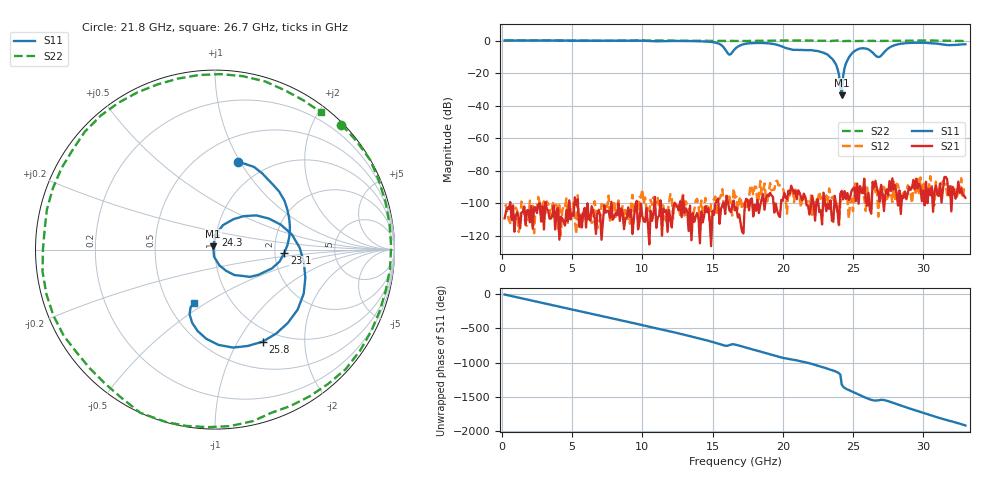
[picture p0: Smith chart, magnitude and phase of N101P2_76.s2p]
# GHZ S RI R 50
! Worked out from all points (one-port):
!   329 points, 200 MHz to 33 GHz, reference 50 ohm
!   lowest |S11| = -33.6 dB at 24.2 GHz (marker M1), VSWR 1.04, Z = 49 + j1.8 ohm
!   |S11| at or under -10 dB: 23.36 GHz to 24.74 GHz (1.383 GHz wide, 5.75 % of centre); 26.76 GHz to 26.9 GHz (147.5 MHz wide, 0.55 % of centre)
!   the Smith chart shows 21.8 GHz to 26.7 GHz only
!   S11 on the Smith chart (normalised r, x): 21.8 GHz: 0.75, +0.98; 23.1 GHz: 2.25, -0.11; 24.3 GHz: 0.99, +0.17; 25.8 GHz: 0.83, -1.28; 26.7 GHz: 0.67, -0.45
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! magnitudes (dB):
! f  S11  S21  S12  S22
! 200 MHz  0.0  -109.3  -101.7  0.0
! 5.7 GHz  -0.1  -115.0  -104.8  -0.1
! 11.2 GHz  -0.4  -107.8  -103.4  0.0
! 15.1 GHz  -1.1  -107.1  -97.6  -0.3
! 15.6 GHz  -2.6  -103.6  -95.2  -0.2
! 16.2 GHz  -8.7  -104.3  -95.9  -0.2
! 16.6 GHz  -5.2  -104.4  -96.6  -0.3
! 18.4 GHz  -1.5  -101.1  -86.4  -0.1
! 21.8 GHz  -5.9  -101.4  -98.9  -0.1
! 22.1 GHz  -6.0  -95.4  -107.2  -0.1
! 23.1 GHz  -8.3  -104.9  -95.2  -0.2
! 23.8 GHz  -15.0  -100.7  -102.0  0.0
! 24 GHz  -20.9  -113.0  -113.5  0.0
! 24.2 GHz  -33.6  -92.4  -98.2  -0.3
! 24.3 GHz  -21.6  -97.7  -98.9  -0.3
! 24.5 GHz  -14.1  -97.3  -95.1  -0.3
! 24.8 GHz  -9.2  -96.1  -99.0  -0.3
! 25.8 GHz  -4.8  -84.9  -96.2  -0.2
! 26.7 GHz  -9.8  -91.0  -89.9  -0.3
! 27.6 GHz  -4.3  -86.3  -93.9  -0.2
! 29.2 GHz  -1.4  -90.4  -100.0  -0.1
! 33 GHz  -2.3  -96.7  -91.6  -0.3
